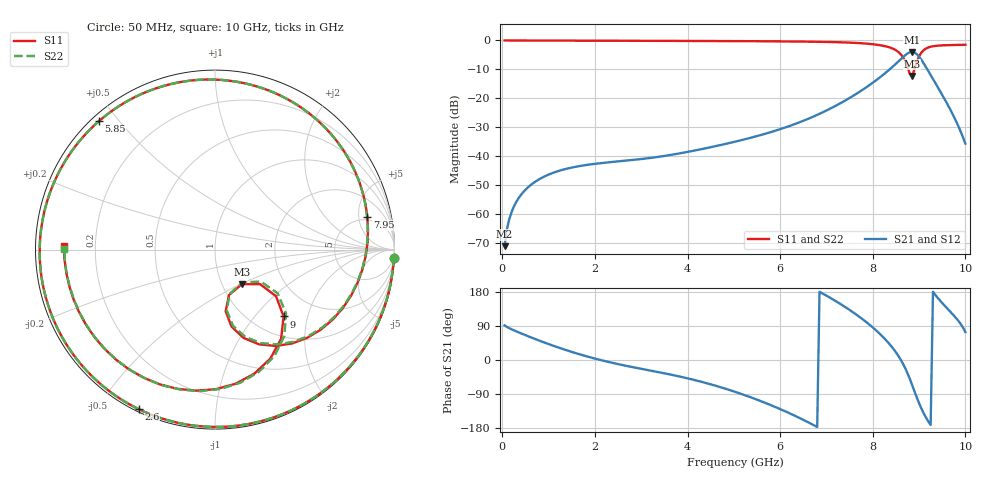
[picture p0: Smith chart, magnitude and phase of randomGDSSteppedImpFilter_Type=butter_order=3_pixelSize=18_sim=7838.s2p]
! freq	dB(S11)	phase(S11)	dB(S12)	phase(S12)
!  dB(S21)	phase(S21)	dB(S22)	phase(S22)
!S-par simulation data
#  GHz  S  DB  R 50
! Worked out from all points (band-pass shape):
!   200 points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, 50 MHz to 10 GHz, reference 50 ohm
!   highest |S21| = -3.96 dB at 8.85 GHz (marker M1); lowest = -70.9 dB at 50 MHz (marker M2)
!   |S21| within 3 dB of the highest: 8.572 GHz to 9.06 GHz (488.8 MHz wide, 5.54 % of centre)
!   lowest |S11| = -12.3 dB at 8.85 GHz (marker M3), VSWR 1.65, Z = 61.8 - j25.3 ohm
!   |S11| at or under -10 dB: 8.768 GHz to 8.9 GHz (132.5 MHz wide, 1.5 % of centre)
!   |S22| runs from -12.5 to 0.0 dB; largest |S21 - S12| = 0
!   S11 on the Smith chart (normalised r, x): 50 MHz: 2, -44; 2.6 GHz: 0.01, -0.63; 5.85 GHz: 0.02, +0.44; 7.95 GHz: 4.37, +6.49; 9 GHz: 1.37, -1.43; 10 GHz: 0.09, +0.01
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0.05  -0.02 -2.6  -70.95 91.2  -70.95 91.2  -0.02 -2.6
0.2  -0.03 -10.0  -59.19 81.1  -59.19 81.1  -0.03 -10.0
0.5  -0.04 -24.8  -51.49 65.5  -51.49 65.5  -0.04 -24.8
1.15  -0.07 -55.7  -45.35 35.5  -45.35 35.5  -0.07 -55.7
1.75  -0.10 -82.0  -43.11 12.2  -43.11 12.2  -0.10 -82.0
2.6  -0.13 -115.5  -41.57 -13.5  -41.57 -13.5  -0.13 -115.5
3.4  -0.15 -143.8  -40.08 -32.7  -40.08 -32.7  -0.15 -143.8
4.25  -0.19 -172.1  -37.66 -55.9  -37.66 -55.9  -0.19 -172.0
5.05  -0.24 161.1  -34.83 -84.9  -34.83 -84.9  -0.24 161.3
5.85  -0.31 132.2  -31.37 -121.7  -31.37 -121.7  -0.31 132.4
6.7  -0.44 95.4  -26.39 -170.3  -26.39 -170.3  -0.44 95.8
7.35  -0.67 58.7  -21.23 144.1  -21.23 144.1  -0.67 59.4
7.95  -1.23 12.2  -15.17 91.1  -15.17 91.1  -1.22 13.3
8.35  -2.35 -30.8  -10.19 43.7  -10.19 43.7  -2.35 -29.4
8.55  -3.95 -57.8  -7.29 11.4  -7.29 11.4  -3.96 -56.5
8.7  -7.16 -77.9  -5.10 -21.4  -5.10 -21.4  -7.21 -76.7
8.85  -12.26 -52.2  -3.96 -65.9  -3.96 -65.9  -12.47 -50.0
9  -5.45 -44.3  -5.61 -114.1  -5.61 -114.1  -5.48 -41.9
9.15  -2.79 -72.4  -9.24 -152.0  -9.24 -152.0  -2.80 -70.4
9.35  -1.90 -105.2  -14.65 171.9  -14.65 171.9  -1.91 -103.5
9.65  -1.62 -144.3  -23.11 130.6  -23.11 130.6  -1.63 -143.1
10  -1.50 178.8  -35.61 73.7  -35.61 73.7  -1.51 179.6
